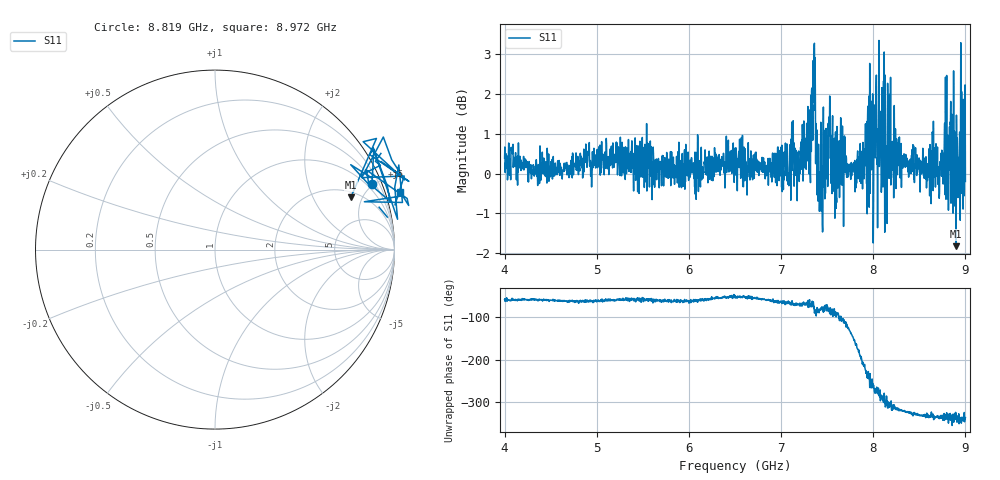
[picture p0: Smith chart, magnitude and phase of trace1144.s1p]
! Created with skrf 1.8.0 (http://scikit-rf.org).
# Hz S RI R 50.0
!freq ReS11 ImS11
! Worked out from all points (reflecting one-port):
!   1601 points, 4 GHz to 9 GHz, reference 50 ohm
!   lowest |S11| = -1.8 dB at 8.9 GHz (marker M1), VSWR 9.57, Z = 119 + j202 ohm
!   phase of S11 starts at -57 deg and turns -279 deg over the sweep
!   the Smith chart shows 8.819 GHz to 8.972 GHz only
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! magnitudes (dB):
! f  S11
! 4 GHz  0.4
! 4.625 GHz  -0.1
! 5.25 GHz  0.1
! 5.875 GHz  -0.2
! 6.5 GHz  0.1
! 7.125 GHz  0.5
! 7.294 GHz  0.9
! 7.347 GHz  2.8
! 7.372 GHz  2.0
! 7.4 GHz  0.4
! 7.428 GHz  -0.1
! 7.509 GHz  0.2
! 7.609 GHz  0.0
! 7.669 GHz  0.5
! 7.75 GHz  0.1
! 7.875 GHz  -0.1
! 8.038 GHz  1.4
! 8.066 GHz  0.2
! 8.097 GHz  0.1
! 8.147 GHz  0.7
! 8.178 GHz  2.0
! 8.216 GHz  0.1
! 8.375 GHz  0.2
! 8.709 GHz  0.2
! 8.853 GHz  0.6
! 8.9 GHz  -1.8
! 8.972 GHz  0.7
! 9 GHz  -0.2
